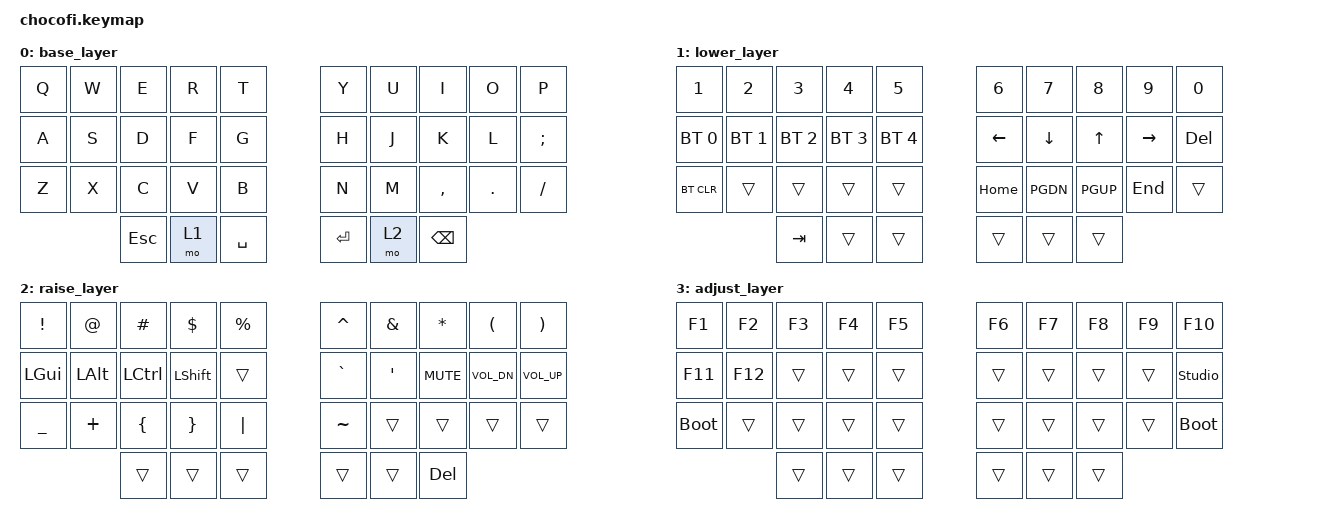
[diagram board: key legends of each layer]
/*
 * Chocofi 36-key keymap. QWERTY base + GACS homerow mods.
 * Layers: 0 BASE, 1 LOWER, 2 RAISE, 3 ADJUST (LOWER+RAISE held together).
 *
 * SPDX-License-Identifier: MIT
 */

#include <behaviors.dtsi>
#include <dt-bindings/zmk/bt.h>
#include <dt-bindings/zmk/keys.h>

/ {
    keymap {
        compatible = "zmk,keymap";

        base_layer {
            // -----------------------------------------------------------------------------------------
            // |  Q  |  W  |  E  |  R  |  T  |   |  Y  |  U   |  I  |  O  |  P  |
            // | A/G | S/A | D/C | F/S |  G  |   |  H  |  J/S | K/C | L/A | ;/G |
            // |  Z  |  X  |  C  |  V  |  B  |   |  N  |  M   |  ,  |  .  |  /  |
            //                 | ESC | LWR | SPC |   | RET | RSE | BSPC |

            bindings = <
&kp Q  &kp W  &kp E    &kp R  &kp T      &kp Y    &kp U  &kp I      &kp O    &kp P
&kp A  &kp S  &kp D    &kp F  &kp G      &kp H    &kp J  &kp K      &kp L    &kp SEMICOLON
&kp Z  &kp X  &kp C    &kp V  &kp B      &kp N    &kp M  &kp COMMA  &kp DOT  &kp FSLH
              &kp ESC  &mo 1  &kp SPACE  &kp RET  &mo 2  &kp BSPC
            >;
        };

        lower_layer {
            // -----------------------------------------------------------------------------------------
            // |  1  |  2  |  3  |  4  |  5  |   |  6  |  7  |  8  |  9  |  0  |
            // | BT1 | BT2 | BT3 | BT4 | BT5 |   | LFT | DWN |  UP | RGT | DEL |
            // | BTCLR |            |            |   | HOME | PGDN | PGUP | END |     |
            //                       | TAB |     | SPC |   | ENT |     |     |

            bindings = <
&kp N1        &kp N2        &kp N3        &kp N4        &kp N5        &kp N6    &kp N7    &kp N8    &kp N9     &kp N0
&bt BT_SEL 0  &bt BT_SEL 1  &bt BT_SEL 2  &bt BT_SEL 3  &bt BT_SEL 4  &kp LEFT  &kp DOWN  &kp UP    &kp RIGHT  &kp DEL
&bt BT_CLR    &trans        &trans        &trans        &trans        &kp HOME  &kp PGDN  &kp PGUP  &kp END    &trans
                            &kp TAB       &trans        &trans        &trans    &trans    &trans
            >;
        };

        raise_layer {
            // -----------------------------------------------------------------------------------------
            // |  !  |  @  |  #  |  $  |  %  |   |  ^  |  &  |  *  |  (  |  )  |
            // | GUI | ALT | CTL | SFT |     |   |  `  |  '  | MUTE| V- | V+ |
            // |  _  |  +  |  [  |  ]  |  |  |   |  ~  |     |     |     |     |
            //                       |     |     |     |   |     |     | DEL |

            bindings = <
&kp EXCL   &kp AT    &kp HASH   &kp DLLR   &kp PRCNT  &kp CARET  &kp AMPS  &kp ASTRK   &kp LPAR      &kp RPAR
&kp LGUI   &kp LALT  &kp LCTRL  &kp LSHFT  &trans     &kp GRAVE  &kp SQT   &kp C_MUTE  &kp C_VOL_DN  &kp C_VOL_UP
&kp UNDER  &kp PLUS  &kp LBRC   &kp RBRC   &kp PIPE   &kp TILDE  &trans    &trans      &trans        &trans
                     &trans     &trans     &trans     &trans     &trans    &kp DEL
            >;
        };

        adjust_layer {
            // -----------------------------------------------------------------------------------------
            // | F1  | F2  | F3  | F4  | F5  |   | F6  | F7  | F8  | F9  | F10 |
            // | F11 | F12 |     |     |     |   |     |     |     |     | UNLOCK |
            // | BOOT|     |     |     |     |   |     |     |     |     | BOOT |
            //                       |     |     |     |   |     |     |     |

            bindings = <
&kp F1       &kp F2   &kp F3  &kp F4  &kp F5  &kp F6  &kp F7  &kp F8  &kp F9  &kp F10
&kp F11      &kp F12  &trans  &trans  &trans  &trans  &trans  &trans  &trans  &studio_unlock
&bootloader  &trans   &trans  &trans  &trans  &trans  &trans  &trans  &trans  &bootloader
                      &trans  &trans  &trans  &trans  &trans  &trans
            >;
        };
    };
};
